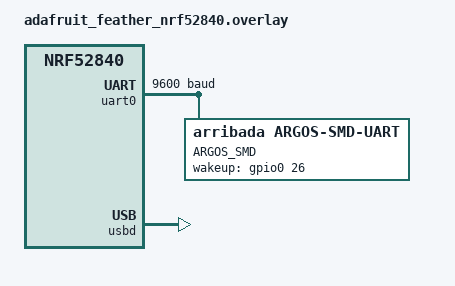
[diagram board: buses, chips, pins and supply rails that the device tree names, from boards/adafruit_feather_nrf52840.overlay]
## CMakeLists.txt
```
# Copyright (c) 2025 Arribada Initiative
# SPDX-License-Identifier: Apache-2.0

cmake_minimum_required(VERSION 3.20.0)

find_package(Zephyr REQUIRED HINTS $ENV{ZEPHYR_BASE})
project(argos_uart_dfu_test)

# Generate firmware array from external file if specified
# Support both CMake variable (FIRMWARE_FILE) and Kconfig variable (CONFIG_ARGOS_OTA_FIRMWARE_FILE)
if(DEFINED FIRMWARE_FILE)
    set(FW_INPUT_FILE "${FIRMWARE_FILE}")
elseif(DEFINED CONFIG_ARGOS_OTA_FIRMWARE_FILE AND NOT "${CONFIG_ARGOS_OTA_FIRMWARE_FILE}" STREQUAL "")
    set(FW_INPUT_FILE "${CONFIG_ARGOS_OTA_FIRMWARE_FILE}")
endif()

if(DEFINED FW_INPUT_FILE AND NOT "${FW_INPUT_FILE}" STREQUAL "")
    set(FW_OUTPUT_FILE "${CMAKE_CURRENT_BINARY_DIR}/firmware_image.h")

    if(NOT EXISTS "${FW_INPUT_FILE}")
        message(FATAL_ERROR "Firmware file not found: ${FW_INPUT_FILE}")
    endif()

    # Run Python script to convert firmware to C array
    add_custom_command(
        OUTPUT ${FW_OUTPUT_FILE}
        COMMAND ${PYTHON_EXECUTABLE}
                ${CMAKE_CURRENT_SOURCE_DIR}/fw_to_array.py
                ${FW_INPUT_FILE}
                ${FW_OUTPUT_FILE}
        DEPENDS ${FW_INPUT_FILE} ${CMAKE_CURRENT_SOURCE_DIR}/fw_to_array.py
        COMMENT "Generating firmware array from ${FW_INPUT_FILE}"
        VERBATIM
    )

    # Create custom target to ensure the header is generated
    add_custom_target(generate_fw_image DEPENDS ${FW_OUTPUT_FILE})

    # Add dependency to app
    add_dependencies(app generate_fw_image)

    # Add include directory for generated header
    target_include_directories(app PRIVATE ${CMAKE_CURRENT_BINARY_DIR})

    # Define macro to use external firmware
    target_compile_definitions(app PRIVATE USE_EXTERNAL_FIRMWARE=1)

    message(STATUS "Using external firmware: ${FW_INPUT_FILE}")
endif()

target_sources(app PRIVATE src/main.c)
```

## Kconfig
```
# Copyright (c) 2025 Arribada Initiative
# SPDX-License-Identifier: Apache-2.0

mainmenu "Argos SMD OTA Test Configuration"

source "Kconfig.zephyr"

config ARGOS_OTA_TEST_FULL_UPDATE
	bool "Enable full OTA update test"
	default n
	help
	  Enable the full OTA update test which will attempt to perform a
	  real firmware update on the device. This test will enter bootloader
	  mode, transfer the complete test firmware, and finalize the update.
	  WARNING: This will actually update the device firmware!

config ARGOS_OTA_TEST_STRESS
	bool "Enable OTA stress tests"
	default n
	help
	  Enable stress tests that perform multiple consecutive OTA updates.
	  This is useful for testing reliability and finding edge cases.
	  These tests take longer to complete.

config ARGOS_OTA_FIRMWARE_FILE
	string "Path to firmware file for OTA testing"
	default ""
	help
	  Path to a binary firmware file to use for OTA testing.
	  If not specified, a built-in test firmware will be used.

	  Example: /path/to/firmware.bin

	  The file will be converted to a C array at build time.
```

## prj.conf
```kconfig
# Copyright (c) 2025 Arribada Initiative
# SPDX-License-Identifier: Apache-2.0

# Logging
CONFIG_LOG=y
CONFIG_LOG_DEFAULT_LEVEL=3
CONFIG_LOG_MODE_IMMEDIATE=y

# RTT Console for logs (via J-Link)
CONFIG_USE_SEGGER_RTT=y
CONFIG_RTT_CONSOLE=y
CONFIG_UART_CONSOLE=n
CONFIG_CONSOLE=y

# RTT log backend must DROP when the up-buffer is full, never BLOCK. With
# immediate logging, the default blocking mode does k_busy_wait()+retry while
# no RTT host is draining (e.g. before the debugger attaches at boot); a
# context switch during that busy-wait causes a usage fault. Drop instead, and
# use a larger up-buffer so early boot logs are less likely to be lost.
CONFIG_LOG_BACKEND_RTT_MODE_DROP=y
CONFIG_SEGGER_RTT_BUFFER_SIZE_UP=4096

# Serial/UART support
CONFIG_SERIAL=y
CONFIG_UART_INTERRUPT_DRIVEN=y
# Allow changing the UART baudrate at runtime (bootloader may run at 9600 or 115200)
CONFIG_UART_USE_RUNTIME_CONFIGURE=y

# Argos SMD driver
CONFIG_ARGOS_SMD=y
CONFIG_ARGOS_SMD_LOG_LEVEL_INF=y

# Argos DFU/OTA support
CONFIG_ARGOS_SMD_DFU=y

# Heap for buffers
CONFIG_HEAP_MEM_POOL_SIZE=16384

# Main stack size (increase if needed for large firmware images)
CONFIG_MAIN_STACK_SIZE=8192

# System workqueue stack size
CONFIG_SYSTEM_WORKQUEUE_STACK_SIZE=4096

# ISR stack size
CONFIG_ISR_STACK_SIZE=2048

# Optional: Enable full OTA update test (WARNING: performs real firmware update)
CONFIG_ARGOS_OTA_TEST_FULL_UPDATE=y

# Optional: Enable stress tests (repeated OTA updates)
# CONFIG_ARGOS_OTA_TEST_STRESS=y
```

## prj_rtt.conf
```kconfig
# Copyright (c) 2025 Arribada Initiative
# SPDX-License-Identifier: Apache-2.0

# This is an alternative configuration that uses RTT for logging
# instead of UART console
#
# To use: west build -b nrf52840dk_nrf52840 samples/uart_dfu_test -- -DCONF_FILE=prj_rtt.conf

# Include base configuration
# (Note: Manually copy settings from prj.conf or use this as base)

# Logging
CONFIG_LOG=y
CONFIG_LOG_DEFAULT_LEVEL=3
CONFIG_LOG_MODE_IMMEDIATE=y

# Serial/UART support (still needed for Argos SMD communication)
CONFIG_SERIAL=y
CONFIG_UART_INTERRUPT_DRIVEN=y

# Argos SMD driver
CONFIG_ARGOS_SMD=y
CONFIG_ARGOS_SMD_LOG_LEVEL_INF=y

# Argos DFU/OTA support
CONFIG_ARGOS_DFU=y
CONFIG_ARGOS_DFU_LOG_LEVEL_INF=y

# Heap for buffers
CONFIG_HEAP_MEM_POOL_SIZE=8192

# Main stack size (increase if needed for large firmware images)
CONFIG_MAIN_STACK_SIZE=4096

# System workqueue stack size
CONFIG_SYSTEM_WORKQUEUE_STACK_SIZE=2048

# ===== RTT CONFIGURATION =====

# Enable SEGGER RTT
CONFIG_USE_SEGGER_RTT=y

# RTT Console (for printf-like output)
CONFIG_RTT_CONSOLE=y

# Use RTT as the log backend (instead of UART)
CONFIG_LOG_BACKEND_RTT=y

# RTT mode: drop messages if buffer full (prevents blocking)
CONFIG_LOG_BACKEND_RTT_MODE_DROP=y

# Disable UART console since we're using RTT for logs
# (UART is still active for Argos SMD module communication)
CONFIG_UART_CONSOLE=n

# RTT Buffer Sizes (increase for higher log volume)
CONFIG_SEGGER_RTT_BUFFER_SIZE_UP=4096    # Host <- Target
CONFIG_SEGGER_RTT_BUFFER_SIZE_DOWN=16    # Host -> Target

# Number of RTT buffers
CONFIG_SEGGER_RTT_MAX_NUM_UP_BUFFERS=3
CONFIG_SEGGER_RTT_MAX_NUM_DOWN_BUFFERS=3

# RTT Mode
# 0 = Skip (drop if full)
# 1 = Trim (trim message if full)
# 2 = Block (wait for space - can hang!)
CONFIG_SEGGER_RTT_MODE=0

# Optional: Enable full OTA update test (WARNING: performs real firmware update)
# CONFIG_ARGOS_OTA_TEST_FULL_UPDATE=y

# Optional: Enable stress tests (repeated OTA updates)
# CONFIG_ARGOS_OTA_TEST_STRESS=y
```

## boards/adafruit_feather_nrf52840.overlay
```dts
/*
 * Copyright (c) 2025 Arribada Initiative
 *
 * SPDX-License-Identifier: Apache-2.0
 */

/*
 * Devicetree overlay for Adafruit Feather nRF52840 - OTA Test
 *
 * Uses uart0 for communication with the Argos SMD module (same as uart_cmd sample)
 * Console is redirected to USB CDC ACM for debugging via RTT
 */

#include <zephyr/dt-bindings/gpio/gpio.h>

/ {
    chosen {
        zephyr,console = &cdc_acm_uart;
        /delete-property/ zephyr,shell-uart;
        /delete-property/ zephyr,uart-mcumgr;
        /delete-property/ zephyr,bt-mon-uart;
        /delete-property/ zephyr,bt-c2h-uart;
    };
};

&uart0 {
    status = "okay";
    current-speed = <9600>;

    argossmd: argos-smd {
        compatible = "arribada,argos-smd-uart";
        label = "ARGOS_SMD";
        /* Wake the module from low power before talking to it.
         * Feather D9 (P0.26) -> STM32 PB3/WKUP3 (same wiring as uart_cmd).
         */
        wakeup-gpios = <&gpio0 26 GPIO_ACTIVE_HIGH>;
    };
};

zephyr_udc0: &usbd {
    compatible = "nordic,nrf-usbd";
    status = "okay";
    cdc_acm_uart: cdc_acm_uart0 {
        compatible = "zephyr,cdc-acm-uart";
        label = "CDC_ACM";
    };
};
```

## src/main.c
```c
/*
 * Copyright (c) 2025 Arribada Initiative
 *
 * SPDX-License-Identifier: Apache-2.0
 */

#include <zephyr/kernel.h>
#include <zephyr/device.h>
#include <zephyr/logging/log.h>

#include <argos-smd/argos_smd.h>
#include <argos-smd/argos_dfu.h>

LOG_MODULE_REGISTER(uart_dfu_test, LOG_LEVEL_INF);

/*
 * Firmware image selection
 * - If USE_EXTERNAL_FIRMWARE is defined, use firmware from file (firmware_image.h)
 * - Otherwise, use built-in test firmware
 */

#ifdef USE_EXTERNAL_FIRMWARE
/* Include generated firmware array from external file */
#include "firmware_image.h"

/* Use the generated firmware */
#define TEST_FW_IMAGE firmware_image
#define TEST_FW_SIZE  FIRMWARE_IMAGE_SIZE

#else
/* Built-in test firmware image (dummy data for testing) */
static const uint8_t test_firmware[] = {
	/* Firmware header (example) */
	0x4B, 0x4E, 0x53, 0x46,  /* Magic "KNSF" */
	0x01, 0x01, 0x00, 0x00,  /* Version 1.1.0.0 */
	0x00, 0x80, 0x00, 0x00,  /* Entry point */
	0x00, 0x04, 0x00, 0x00,  /* Size: 1024 bytes */

	/* Padding with recognizable pattern */
	0xDE, 0xAD, 0xBE, 0xEF, 0xDE, 0xAD, 0xBE, 0xEF,
	0xDE, 0xAD, 0xBE, 0xEF, 0xDE, 0xAD, 0xBE, 0xEF,
	0xDE, 0xAD, 0xBE, 0xEF, 0xDE, 0xAD, 0xBE, 0xEF,
	0xDE, 0xAD, 0xBE, 0xEF, 0xDE, 0xAD, 0xBE, 0xEF,

	/* Fill rest with incremental pattern for easier debugging */
	0x00, 0x01, 0x02, 0x03, 0x04, 0x05, 0x06, 0x07,
	0x08, 0x09, 0x0A, 0x0B, 0x0C, 0x0D, 0x0E, 0x0F,
	0x10, 0x11, 0x12, 0x13, 0x14, 0x15, 0x16, 0x17,
	0x18, 0x19, 0x1A, 0x1B, 0x1C, 0x1D, 0x1E, 0x1F,
	0x20, 0x21, 0x22, 0x23, 0x24, 0x25, 0x26, 0x27,
	0x28, 0x29, 0x2A, 0x2B, 0x2C, 0x2D, 0x2E, 0x2F,
	0x30, 0x31, 0x32, 0x33, 0x34, 0x35, 0x36, 0x37,
	0x38, 0x39, 0x3A, 0x3B, 0x3C, 0x3D, 0x3E, 0x3F,

	/* Repeat pattern to reach ~512 bytes */
	0x40, 0x41, 0x42, 0x43, 0x44, 0x45, 0x46, 0x47,
	0x48, 0x49, 0x4A, 0x4B, 0x4C, 0x4D, 0x4E, 0x4F,
	0x50, 0x51, 0x52, 0x53, 0x54, 0x55, 0x56, 0x57,
	0x58, 0x59, 0x5A, 0x5B, 0x5C, 0x5D, 0x5E, 0x5F,
	0x60, 0x61, 0x62, 0x63, 0x64, 0x65, 0x66, 0x67,
	0x68, 0x69, 0x6A, 0x6B, 0x6C, 0x6D, 0x6E, 0x6F,
	0x70, 0x71, 0x72, 0x73, 0x74, 0x75, 0x76, 0x77,
	0x78, 0x79, 0x7A, 0x7B, 0x7C, 0x7D, 0x7E, 0x7F,
	0x80, 0x81, 0x82, 0x83, 0x84, 0x85, 0x86, 0x87,
	0x88, 0x89, 0x8A, 0x8B, 0x8C, 0x8D, 0x8E, 0x8F,
	0x90, 0x91, 0x92, 0x93, 0x94, 0x95, 0x96, 0x97,
	0x98, 0x99, 0x9A, 0x9B, 0x9C, 0x9D, 0x9E, 0x9F,
	0xA0, 0xA1, 0xA2, 0xA3, 0xA4, 0xA5, 0xA6, 0xA7,
	0xA8, 0xA9, 0xAA, 0xAB, 0xAC, 0xAD, 0xAE, 0xAF,
	0xB0, 0xB1, 0xB2, 0xB3, 0xB4, 0xB5, 0xB6, 0xB7,
	0xB8, 0xB9, 0xBA, 0xBB, 0xBC, 0xBD, 0xBE, 0xBF,
	0xC0, 0xC1, 0xC2, 0xC3, 0xC4, 0xC5, 0xC6, 0xC7,
	0xC8, 0xC9, 0xCA, 0xCB, 0xCC, 0xCD, 0xCE, 0xCF,
	0xD0, 0xD1, 0xD2, 0xD3, 0xD4, 0xD5, 0xD6, 0xD7,
	0xD8, 0xD9, 0xDA, 0xDB, 0xDC, 0xDD, 0xDE, 0xDF,
	0xE0, 0xE1, 0xE2, 0xE3, 0xE4, 0xE5, 0xE6, 0xE7,
	0xE8, 0xE9, 0xEA, 0xEB, 0xEC, 0xED, 0xEE, 0xEF,
	0xF0, 0xF1, 0xF2, 0xF3, 0xF4, 0xF5, 0xF6, 0xF7,
	0xF8, 0xF9, 0xFA, 0xFB, 0xFC, 0xFD, 0xFE, 0xFF,
};

/* Use the built-in test firmware */
#define TEST_FW_IMAGE test_firmware
#define TEST_FW_SIZE  sizeof(test_firmware)

#endif /* USE_EXTERNAL_FIRMWARE */

/* Progress callback for OTA updates */
static void progress_callback(uint32_t current, uint32_t total)
{
	static uint32_t last_percent = 0;
	uint32_t percent = (current * 100) / total;

	if (percent != last_percent && (percent % 5 == 0)) {
		LOG_INF("  >> Transfer progress: %u%% (%u/%u bytes)",
			percent, current, total);
		last_percent = percent;
	}
}

/* ==================== BASIC TESTS ==================== */

static int test_ping(const struct device *dev)
{
	LOG_INF("--- Test: PING ---");

	int ret = argos_read_ping(dev);
	if (ret == 0) {
		LOG_INF("RESULT: PASS - Device responding to PING");
	} else {
		LOG_ERR("RESULT: FAIL - PING failed with error %d", ret);
	}

	return ret;
}

static int test_version(const struct device *dev)
{
	LOG_INF("--- Test: READ VERSION ---");

	int ret = argos_read_version(dev);
	if (ret == 0) {
		LOG_INF("RESULT: PASS - Version read successfully");
	} else {
		LOG_ERR("RESULT: FAIL - Version read failed with error %d", ret);
	}

	return ret;
}

static int test_firmware_version(const struct device *dev)
{
	LOG_INF("--- Test: READ FIRMWARE VERSION ---");

	int ret = argos_read_firmware_version(dev);
	if (ret == 0) {
		LOG_INF("RESULT: PASS - Firmware version read successfully");
	} else {
		LOG_ERR("RESULT: FAIL - Firmware version read failed with error %d", ret);
	}

	return ret;
}

/* ==================== BOOTLOADER TESTS ==================== */

static int test_enter_bootloader(const struct device *dev)
{
	LOG_INF("--- Test: ENTER BOOTLOADER MODE ---");

	int ret = argos_enter_bootloader(dev);
	if (ret < 0) {
		LOG_ERR("RESULT: FAIL - Failed to enter bootloader: %d", ret);
		return ret;
	}

	/* Detect the bootloader baudrate (9600 in UART-DFU mode, 115200 otherwise)
	 * and switch the host UART to it. This also confirms the bootloader is
	 * responding, and recovers a module left in a bootloader at a baud that
	 * differs from the application.
	 */
	LOG_INF("Detecting bootloader baudrate (9600/115200)...");
	ret = argos_dfu_sync_bootloader_baud(dev);
	if (ret < 0) {
		LOG_ERR("RESULT: FAIL - Bootloader not responding at any baud: %d", ret);
		return ret;
	}

	LOG_INF("RESULT: PASS - Bootloader ready at %d baud", ret);
	return 0;
}

static int test_bootloader_ping(const struct device *dev)
{
	LOG_INF("--- Test: PING IN BOOTLOADER MODE ---");

	/* Ensure we're in bootloader mode */
	argos_wait_bootloader_ready(dev, K_SECONDS(5));

	int ret = argos_read_ping(dev);
	if (ret == 0) {
		LOG_INF("RESULT: PASS - Bootloader responding to PING");
	} else {
		LOG_ERR("RESULT: FAIL - Bootloader PING failed: %d", ret);
	}

	return ret;
}

/* ==================== DFU SESSION TESTS ==================== */

static int test_dfu_erase(const struct device *dev)
{
	LOG_INF("--- Test: DFU ERASE ---");

	/* Ensure we're in bootloader mode */
	argos_wait_bootloader_ready(dev, K_SECONDS(5));

	int ret = argos_dfu_erase(dev);
	if (ret == 0) {
		LOG_INF("RESULT: PASS - Flash erased successfully");
	} else {
		LOG_ERR("RESULT: FAIL - Erase failed: %d", ret);
	}

	return ret;
}

static int test_dfu_write_single_chunk(const struct device *dev)
{
	LOG_INF("--- Test: WRITE SINGLE CHUNK ---");

	/* Ensure we're in bootloader mode and erase first */
	argos_wait_bootloader_ready(dev, K_SECONDS(5));

	int ret = argos_dfu_erase(dev);
	if (ret < 0) {
		LOG_ERR("RESULT: FAIL - Couldn't erase flash: %d", ret);
		return ret;
	}

	/* Write first chunk at APP base address */
	size_t chunk_size = MIN(ARGOS_DFU_CHUNK_SIZE, TEST_FW_SIZE);
	ret = argos_dfu_write(dev, ARGOS_DFU_APP_BASE, TEST_FW_IMAGE, chunk_size);
	if (ret == 0) {
		LOG_INF("RESULT: PASS - Single chunk written at 0x%08X", ARGOS_DFU_APP_BASE);
	} else {
		LOG_ERR("RESULT: FAIL - Write failed: %d", ret);
	}

	/* Abort the session */
	argos_dfu_abort(dev);

	return ret;
}

static int test_dfu_abort(const struct device *dev)
{
	LOG_INF("--- Test: DFU ABORT ---");

	/* Ensure bootloader mode */
	argos_wait_bootloader_ready(dev, K_SECONDS(5));

	/* Start a DFU session (erase) */
	int ret = argos_dfu_erase(dev);
	if (ret < 0) {
		LOG_WRN("DFU erase (for abort test) failed: %d", ret);
	}

	/* Abort it */
	ret = argos_dfu_abort(dev);
	if (ret == 0) {
		LOG_INF("RESULT: PASS - DFU session aborted successfully");
	} else {
		LOG_ERR("RESULT: FAIL - DFU abort failed: %d", ret);
	}

	return ret;
}

/* ==================== COMPLETE OTA TEST ==================== */

static int test_full_ota(const struct device *dev)
{
	LOG_INF("--- Test: FULL OTA UPDATE ---");
	LOG_INF("This test will perform a complete firmware update");
	LOG_INF("Firmware size: %zu bytes", TEST_FW_SIZE);

	int ret = argos_ota_update(dev, TEST_FW_IMAGE, TEST_FW_SIZE, progress_callback);

	if (ret == 0) {
		LOG_INF("RESULT: PASS - Full OTA update completed successfully");
	} else {
		LOG_ERR("RESULT: FAIL - Full OTA update failed: %d", ret);
	}

	return ret;
}

/* ==================== ERROR HANDLING TESTS ==================== */

static int test_invalid_crc(const struct device *dev)
{
	LOG_INF("--- Test: INVALID CRC (should fail gracefully) ---");

	/* Enter bootloader */
	argos_enter_bootloader(dev);
	argos_wait_bootloader_ready(dev, K_SECONDS(10));

	/* Erase flash first */
	int ret = argos_dfu_erase(dev);
	if (ret < 0) {
		LOG_ERR("RESULT: FAIL - Erase failed: %d", ret);
		return ret;
	}

	/* Write all data */
	uint32_t addr = ARGOS_DFU_APP_BASE;
	size_t offset = 0;
	while (offset < TEST_FW_SIZE) {
		size_t chunk_len = MIN(ARGOS_DFU_CHUNK_SIZE, TEST_FW_SIZE - offset);
		ret = argos_dfu_write(dev, addr, &TEST_FW_IMAGE[offset], chunk_len);
		if (ret < 0) {
			LOG_INF("RESULT: PASS - Write rejected during transfer");
			argos_dfu_abort(dev);
			return 0;
		}
		addr += chunk_len;
		offset += chunk_len;
	}

	/* Try to verify with intentionally wrong CRC - should fail */
	ret = argos_dfu_verify(dev, 0xDEADBEEF);
	if (ret < 0) {
		LOG_INF("RESULT: PASS - Verify with bad CRC rejected");
		argos_dfu_abort(dev);
		return 0;
	}

	LOG_ERR("RESULT: FAIL - DFU with bad CRC should have been rejected!");
	return -1;
}

static int test_chunk_too_large(const struct device *dev)
{
	LOG_INF("--- Test: CHUNK TOO LARGE (should be rejected) ---");

	/* Ensure bootloader mode */
	argos_enter_bootloader(dev);
	argos_wait_bootloader_ready(dev, K_SECONDS(10));

	/* Erase flash */
	int ret = argos_dfu_erase(dev);
	if (ret < 0) {
		LOG_ERR("RESULT: FAIL - Couldn't erase: %d", ret);
		return ret;
	}

	/* Try to write oversized chunk */
	uint8_t large_chunk[ARGOS_DFU_CHUNK_SIZE + 1];
	memset(large_chunk, 0xAA, sizeof(large_chunk));

	ret = argos_dfu_write(dev, ARGOS_DFU_APP_BASE, large_chunk, sizeof(large_chunk));
	if (ret < 0) {
		LOG_INF("RESULT: PASS - Oversized chunk rejected (error: %d)", ret);
		argos_dfu_abort(dev);
		return 0;
	}

	LOG_ERR("RESULT: FAIL - Oversized chunk should have been rejected!");
	argos_dfu_abort(dev);
	return -1;
}

static int test_dfu_without_erase(const struct device *dev)
{
	LOG_INF("--- Test: DFU WRITE WITHOUT ERASE (should fail) ---");

	/* Enter bootloader but don't erase */
	argos_enter_bootloader(dev);
	argos_wait_bootloader_ready(dev, K_SECONDS(10));

	/* Abort any previous session to ensure clean state */
	argos_dfu_abort(dev);
	k_msleep(100);

	/* Try to write without erasing first - bootloader should reject */
	int ret = argos_dfu_write(dev, ARGOS_DFU_APP_BASE, TEST_FW_IMAGE, 64);
	if (ret < 0) {
		LOG_INF("RESULT: PASS - Write without erase rejected (error: %d)", ret);
		return 0;
	}

	LOG_ERR("RESULT: FAIL - Write without erase should have been rejected!");
	return -1;
}

/* ==================== STRESS TESTS ==================== */

static int test_repeated_ota(const struct device *dev, int iterations)
{
	LOG_INF("--- Test: REPEATED OTA (%d iterations) ---", iterations);

	for (int i = 0; i < iterations; i++) {
		LOG_INF("OTA iteration %d/%d", i + 1, iterations);

		int ret = argos_ota_update(dev, TEST_FW_IMAGE, TEST_FW_SIZE, NULL);
		if (ret < 0) {
			LOG_ERR("RESULT: FAIL - OTA iteration %d failed: %d", i + 1, ret);
			return ret;
		}

		/* Wait a bit between iterations */
		k_msleep(1000);
	}

	LOG_INF("RESULT: PASS - %d OTA iterations completed successfully", iterations);
	return 0;
}

/* ==================== MAIN TEST RUNNER ==================== */

int main(void)
{
	LOG_INF("========================================");
	LOG_INF("   Argos SMD OTA Test Application");
	LOG_INF("========================================");
#ifdef USE_EXTERNAL_FIRMWARE
	LOG_INF("Using EXTERNAL firmware file");
#else
	LOG_INF("Using BUILT-IN test firmware");
#endif
	LOG_INF("Firmware size: %zu bytes", TEST_FW_SIZE);
	LOG_INF("DFU chunk size: %d bytes", ARGOS_DFU_CHUNK_SIZE);
	LOG_INF("");

	/* Get device */
	const struct device *argos = DEVICE_DT_GET(DT_NODELABEL(argossmd));

	if (!device_is_ready(argos)) {
		LOG_ERR("ERROR: Argos SMD device not ready!");
		LOG_ERR("Check your devicetree configuration.");
		return -1;
	}

	LOG_INF("Argos SMD device ready");

	/* Wake the module from low power before any communication (mirrors
	 * uart_cmd). Without this the module may be asleep and silent. The wake
	 * line (Feather D9 -> STM32 PB3/WKUP3) is declared in the overlay.
	 */
	int wret = argos_smd_wakeup_enable(argos);
	if (wret == 0) {
		LOG_INF("Wakeup pin enabled; waiting for module to be ready...");
		k_msleep(500);
	} else if (wret == -ENOTSUP) {
		LOG_INF("No wakeup pin configured, continuing...");
	}
	LOG_INF("");

	int errors = 0;

	/* ===== BASIC TESTS ===== */
	LOG_INF("======================================");
	LOG_INF("  PHASE 1: BASIC COMMUNICATION TESTS");
	LOG_INF("======================================");
	LOG_INF("");

	errors += (test_ping(argos) != 0) ? 1 : 0;
	k_msleep(500);

	errors += (test_version(argos) != 0) ? 1 : 0;
	k_msleep(500);

	errors += (test_firmware_version(argos) != 0) ? 1 : 0;
	k_msleep(500);

	LOG_INF("");

	/* ===== BOOTLOADER TESTS ===== */
	LOG_INF("======================================");
	LOG_INF("  PHASE 2: BOOTLOADER MODE TESTS");
	LOG_INF("======================================");
	LOG_INF("");

	errors += (test_enter_bootloader(argos) != 0) ? 1 : 0;
	k_msleep(500);

	errors += (test_bootloader_ping(argos) != 0) ? 1 : 0;
	k_msleep(500);

	LOG_INF("");

	/* ===== DFU SESSION TESTS ===== */
	LOG_INF("======================================");
	LOG_INF("  PHASE 3: DFU SESSION TESTS");
	LOG_INF("======================================");
	LOG_INF("");

	errors += (test_dfu_erase(argos) != 0) ? 1 : 0;
	k_msleep(500);

	errors += (test_dfu_write_single_chunk(argos) != 0) ? 1 : 0;
	k_msleep(500);

	errors += (test_dfu_abort(argos) != 0) ? 1 : 0;
	k_msleep(500);

	LOG_INF("");

	/* ===== ERROR HANDLING TESTS (DISABLED FOR SPEED) ===== */
	LOG_INF("======================================");
	LOG_INF("  PHASE 4: ERROR HANDLING TESTS - SKIPPED");
	LOG_INF("======================================");
	LOG_INF("");

	/* Disabled to speed up testing - uncomment to enable
	errors += (test_invalid_crc(argos) != 0) ? 1 : 0;
	k_msleep(500);

	errors += (test_chunk_too_large(argos) != 0) ? 1 : 0;
	k_msleep(500);

	errors += (test_dfu_without_erase(argos) != 0) ? 1 : 0;
	k_msleep(500);
	*/

	LOG_INF("");

	/* ===== FULL OTA TEST (Optional - comment out if not needed) ===== */
#ifdef CONFIG_ARGOS_OTA_TEST_FULL_UPDATE
	LOG_INF("======================================");
	LOG_INF("  PHASE 5: FULL OTA UPDATE TEST");
	LOG_INF("======================================");
	LOG_INF("");
	LOG_WRN("WARNING: This will attempt a real firmware update!");
	LOG_INF("");

	errors += (test_full_ota(argos) != 0) ? 1 : 0;
	LOG_INF("");
#else
	LOG_INF("======================================");
	LOG_INF("  PHASE 5: FULL OTA UPDATE - SKIPPED");
	LOG_INF("======================================");
	LOG_INF("To enable: Set CONFIG_ARGOS_OTA_TEST_FULL_UPDATE=y");
	LOG_INF("");
#endif

	/* ===== STRESS TESTS (Optional) ===== */
#ifdef CONFIG_ARGOS_OTA_TEST_STRESS
	LOG_INF("======================================");
	LOG_INF("  PHASE 6: STRESS TESTS");
	LOG_INF("======================================");
	LOG_INF("");

	errors += (test_repeated_ota(argos, 3) != 0) ? 1 : 0;
	LOG_INF("");
#endif

	/* ===== TEST RESULTS ===== */
	LOG_INF("========================================");
	LOG_INF("         TEST RESULTS SUMMARY");
	LOG_INF("========================================");

	if (errors == 0) {
		LOG_INF("   ✓ ALL TESTS PASSED!");
	} else {
		LOG_ERR("   ✗ %d TEST(S) FAILED", errors);
	}

	LOG_INF("========================================");

	return errors;
}
```
